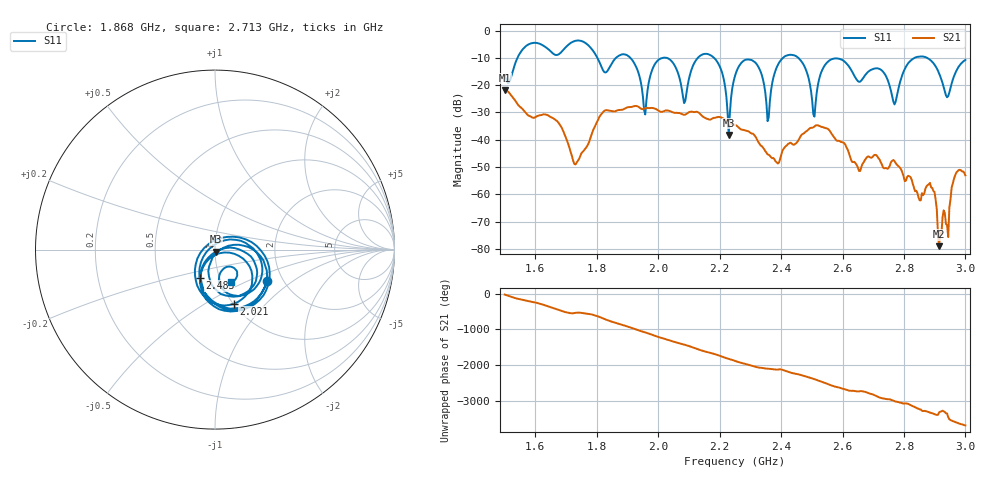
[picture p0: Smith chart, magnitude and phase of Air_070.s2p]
# HZ S RI R 50
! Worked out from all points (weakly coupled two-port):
!   404 points, 1.5 GHz to 3 GHz, reference 50 ohm
!   highest |S21| = -21.75 dB at 1.5 GHz (marker M1); lowest = -79.0 dB at 2.914 GHz (marker M2)
!   lowest |S11| = -38.3 dB at 2.23 GHz (marker M3), VSWR 1.02, Z = 50.5 - j1.11 ohm
!   |S11| at or under -10 dB: 2.182 GHz to 2.406 GHz (224 MHz wide, 9.76 % of centre); 2.456 GHz to 2.835 GHz (378.2 MHz wide, 14.3 % of centre); 2.875 GHz to end of sweep (the widest 3 of 7)
!   S12 and S22 are empty: the file has one direction only
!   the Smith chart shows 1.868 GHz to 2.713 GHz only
!   S11 on the Smith chart (normalised r, x): 1.868 GHz: 1.65, -0.65; 2.021 GHz: 1.00, -0.68; 2.483 GHz: 0.80, -0.26; 2.713 GHz: 1.11, -0.43
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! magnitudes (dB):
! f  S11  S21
! 1.5 GHz  -16.3  -21.7
! 1.753 GHz  -3.9  -44.5
! 1.868 GHz  -9.5  -29.2
! 1.958 GHz  -30.7  -28.4
! 2.002 GHz  -10.6  -29.5
! 2.021 GHz  -9.9  -29.4
! 2.084 GHz  -26.6  -30.9
! 2.177 GHz  -9.5  -32.1
! 2.23 GHz  -38.3  -33.7
! 2.252 GHz  -15.9  -34.6
! 2.315 GHz  -11.6  -38.6
! 2.356 GHz  -33.2  -45.3
! 2.408 GHz  -9.8  -43.4
! 2.483 GHz  -14.9  -36.9
! 2.501 GHz  -25.7  -35.6
! 2.565 GHz  -10.5  -37.8
! 2.713 GHz  -13.8  -46.1
! 2.751 GHz  -19.2  -50.2
! 2.888 GHz  -11.0  -57.5
! 2.914 GHz  -15.7  -79.0
! 2.94 GHz  -24.4  -71.4
! 3 GHz  -10.7  -53.1
